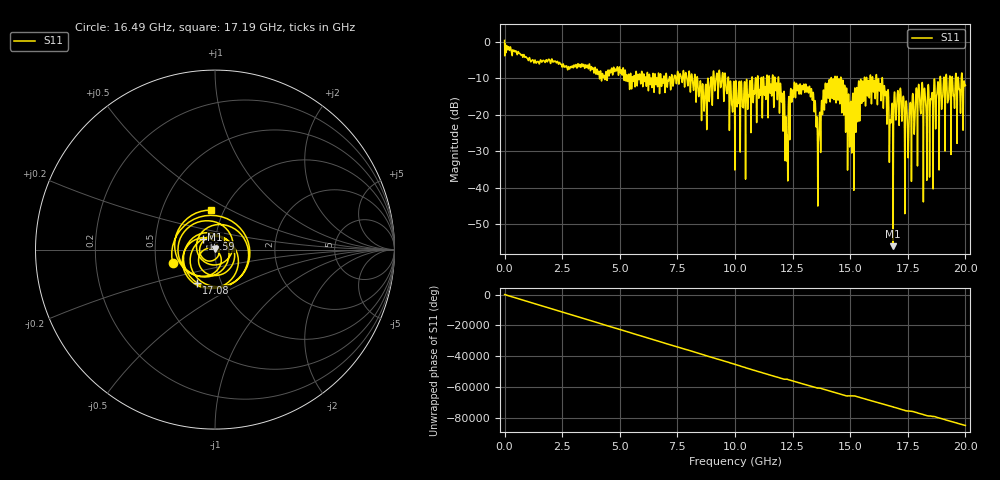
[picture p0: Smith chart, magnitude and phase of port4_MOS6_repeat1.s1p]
! MS46122B
! 2250307/22442219
! 7/26/2025 10:32:28 AM
! C:\USERS\SPARKY\DOCUMENTS\VNA_DATA\JULY26_2025\295K\PORT4_MOS6_REPEAT1.S1P
! CHANNEL.1
! TR.MEASUREMENT
! RAW.DATA
# GHZ S RI R 50.0
! FREQ.GHZ  S11RE  S11IM
!; PortSelection: Port_1
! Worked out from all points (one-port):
!   10001 points, 1 MHz to 20 GHz, reference 50 ohm
!   lowest |S11| = -56.0 dB at 16.87 GHz (marker M1), VSWR 1.00, Z = 50.1 + j0.075 ohm
!   |S11| at or under -10 dB: 9.719 GHz to 10.73 GHz (1.013 GHz wide, 9.91 % of centre); 11.89 GHz to 14.17 GHz (2.274 GHz wide, 17.4 % of centre); 16.4 GHz to 18.9 GHz (2.499 GHz wide, 14.2 % of centre) (the widest 3 of 74)
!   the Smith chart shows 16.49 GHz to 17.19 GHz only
!   S11 on the Smith chart (normalised r, x): 16.49 GHz: 0.61, -0.10; 16.59 GHz: 0.87, +0.10; 17.08 GHz: 0.76, -0.29; 17.19 GHz: 0.87, +0.40
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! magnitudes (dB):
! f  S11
! 1 MHz  0.4
! 2.501 GHz  -6.9
! 5.001 GHz  -7.1
! 7.501 GHz  -8.3
! 8.705 GHz  -13.3
! 9.391 GHz  -12.2
! 10 GHz  -23.2
! 11.81 GHz  -11.4
! 12.26 GHz  -27.3
! 12.5 GHz  -13.2
! 13.31 GHz  -12.8
! 13.63 GHz  -26.7
! 13.84 GHz  -13.3
! 14.09 GHz  -10.4
! 14.6 GHz  -9.7
! 15 GHz  -19.4
! 15.54 GHz  -10.7
! 16.49 GHz  -12.1
! 16.59 GHz  -20.9
! 16.78 GHz  -21.0
! 16.87 GHz  -56.0
! 17.08 GHz  -13.5
! 17.19 GHz  -13.1
! 17.5 GHz  -27.7
! 18.05 GHz  -18.9
! 18.38 GHz  -12.2
! 18.99 GHz  -16.1
! 20 GHz  -11.9
